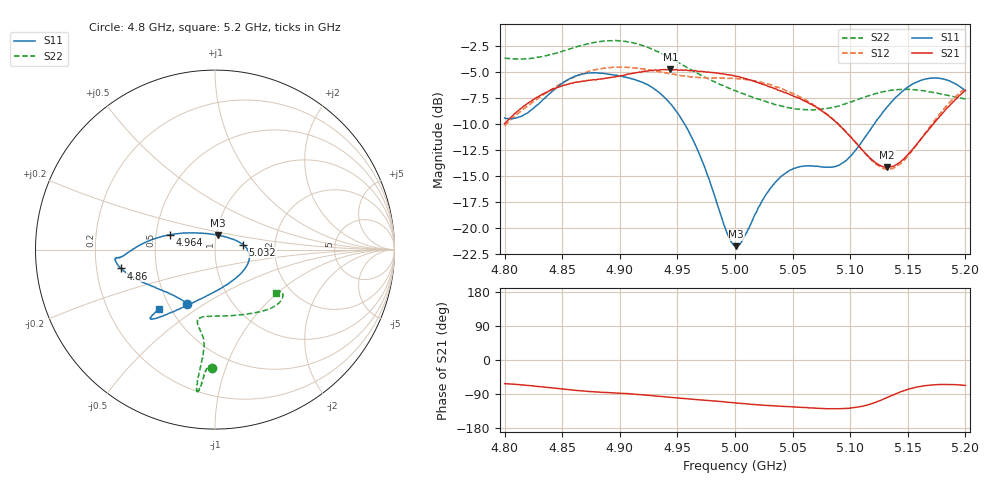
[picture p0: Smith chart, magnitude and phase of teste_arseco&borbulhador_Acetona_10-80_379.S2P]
! Network Analyzer HP8722D
! Hewlett-Packard
! Data name: Linha & Wilkinson
! Saver's name: Rodrigo Anjos
! Comments: Teste da utilização de aquisição
! continua pelo VNA HP8722D
! Time and date: 17/4/2025 17:31
!  Frequency  S11  S21  S12  S22
# HZ  S  MA R 50
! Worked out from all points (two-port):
!   401 points, 4.8 GHz to 5.2 GHz, reference 50 ohm
!   highest |S21| = -4.73 dB at 4.944 GHz (marker M1); lowest = -14.2 dB at 5.132 GHz (marker M2)
!   |S21| within 3 dB of the highest: 4.824 GHz to 5.059 GHz (235.7 MHz wide, 4.77 % of centre); 5.190539 GHz to end of sweep
!   lowest |S11| = -21.8 dB at 5.001 GHz (marker M3), VSWR 1.18, Z = 50.8 + j8.21 ohm
!   |S11| at or under -10 dB: 4.956 GHz to 5.121 GHz (164.7 MHz wide, 3.27 % of centre)
!   |S22| runs from -8.7 to -1.9 dB; largest |S21 - S12| = 0.87
!   S11 on the Smith chart (normalised r, x): 4.8 GHz: 0.62, -0.42; 4.86 GHz: 0.31, -0.09; 4.964 GHz: 0.59, +0.11; 5.032 GHz: 1.37, +0.08; 5.2 GHz: 0.43, -0.36
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4.8e9  0.3381 -117.1  0.3173 -62.4  0.3113 -176.6  0.6572 -91.5
4.818e9  0.3534 -136.3  0.3901 -66.4  0.3794 -176.3  0.6519 -93.1
4.86e9  0.5345 -168.7  0.5005 -79.6  0.5318 -179.8  0.7359 -95.6
4.867e9  0.5503 -171.3  0.5077 -81.6  0.5523 179.0  0.7577 -95.8
4.9e9  0.5392 -175.3  0.5393 -87.7  0.5947 172.8  0.7961 -97.3
4.934e9  0.4494 179.1  0.5759 -95.8  0.5668 169.7  0.7022 -97.4
4.944e9  0.3962 174.6  0.5802 -98.6  0.5522 170.0  0.6579 -96.9
4.964e9  0.262 161.5  0.5719 -103.7  0.5333 171.8  0.5687 -96.5
4.993e9  0.09453 111.4  0.5471 -111.0  0.5258 174.0  0.4759 -98.8
5e9  0.08192 83.8  0.5383 -113.2  0.5246 174.0  0.4581 -100.2
5.001e9  0.08156 79.6  0.5374 -113.3  0.5244 174.0  0.4571 -100.5
5.006e9  0.08624 59.9  0.5296 -114.8  0.5204 174.0  0.4449 -101.6
5.032e9  0.1578 10.1  0.4754 -120.7  0.4866 172.8  0.3978 -103.3
5.049e9  0.1907 -6.0  0.4352 -123.6  0.4477 172.2  0.3772 -98.6
5.067e9  0.1987 -25.3  0.392 -126.5  0.3957 172.1  0.3706 -88.4
5.096e9  0.2103 -75.6  0.2911 -127.9  0.2919 174.8  0.3965 -65.8
5.119e9  0.306 -110.1  0.2123 -114.8  0.2102 -170.1  0.4381 -50.6
5.132e9  0.382 -120.6  0.1955 -99.1  0.1919 -152.5  0.4557 -44.2
5.134e9  0.3936 -121.8  0.1961 -96.4  0.1921 -149.5  0.4588 -43.3
5.146e9  0.4579 -127.2  0.2134 -81.5  0.2093 -132.1  0.4649 -38.9
5.168e9  0.5246 -132.4  0.2969 -66.8  0.3007 -113.2  0.4523 -33.5
5.2e9  0.4575 -133.4  0.4598 -67.2  0.4704 -109.1  0.4177 -35.1
